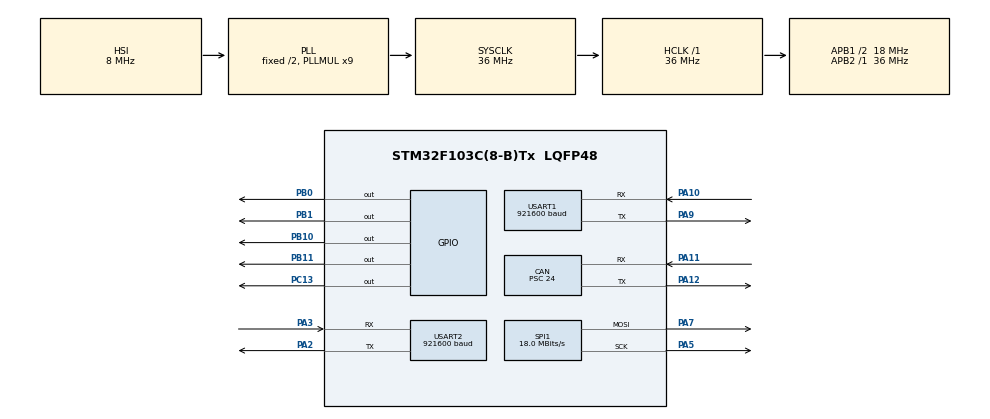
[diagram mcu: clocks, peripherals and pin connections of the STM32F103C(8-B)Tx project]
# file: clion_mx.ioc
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CAN.ABOM=ENABLE
CAN.AWUM=ENABLE
CAN.BS1=CAN_BS1_8TQ
CAN.BS2=CAN_BS2_6TQ
CAN.CalculateBaudRate=49999
CAN.CalculateTimeBit=20000
CAN.CalculateTimeQuantum=1333.3333333333335
CAN.Mode=CAN_MODE_LOOPBACK
CAN.NART=ENABLE
CAN.Prescaler=24
CAN.SJW=CAN_SJW_1TQ
CAN.TXFP=DISABLE
Dma.Request0=USART1_RX
Dma.USART1_RX.0.Direction=DMA_PERIPH_TO_MEMORY
Dma.USART1_RX.0.Instance=DMA1_Channel5
Dma.USART1_RX.0.MemDataAlignment=DMA_MDATAALIGN_BYTE
Dma.USART1_RX.0.MemInc=DMA_MINC_ENABLE
Dma.USART1_RX.0.Mode=DMA_NORMAL
Dma.USART1_RX.0.PeriphDataAlignment=DMA_PDATAALIGN_BYTE
Dma.USART1_RX.0.PeriphInc=DMA_PINC_DISABLE
Dma.USART1_RX.0.Priority=DMA_PRIORITY_VERY_HIGH
Mcu.Family=STM32F1
Mcu.Name=STM32F103C(8-B)Tx
Mcu.Package=LQFP48
NVIC.CAN1_RX1_IRQn=true\:0\:0\:false\:false\:true\:true\:true\:true
NVIC.DMA1_Channel5_IRQn=true\:0\:0\:false\:false\:true\:false\:true\:true
NVIC.PriorityGroup=NVIC_PRIORITYGROUP_4
NVIC.USART1_IRQn=true\:0\:0\:false\:false\:true\:true\:true\:true
NVIC.USB_LP_CAN1_RX0_IRQn=true\:0\:0\:false\:false\:true\:true\:true\:true
PA10.Mode=Asynchronous
PA10.Signal=USART1_RX
PA11.Mode=CAN_Activate
PA11.Signal=CAN_RX
PA12.Mode=CAN_Activate
PA12.Signal=CAN_TX
PA13.Mode=Serial_Wire
PA13.Signal=SYS_JTMS-SWDIO
PA14.Mode=Serial_Wire
PA14.Signal=SYS_JTCK-SWCLK
PA2.Mode=Asynchronous
PA2.Signal=USART2_TX
PA3.Mode=Asynchronous
PA3.Signal=USART2_RX
PA5.Mode=TX_Only_Simplex_Unidirect_Master
PA5.Signal=SPI1_SCK
PA7.Mode=TX_Only_Simplex_Unidirect_Master
PA7.Signal=SPI1_MOSI
PA9.Mode=Asynchronous
PA9.Signal=USART1_TX
PB0.Signal=GPIO_Output
PB1.Signal=GPIO_Output
PB10.Signal=GPIO_Output
PB11.Signal=GPIO_Output
PC13-TAMPER-RTC.Signal=GPIO_Output
PD0-OSC_IN.Mode=HSE-External-Oscillator
PD0-OSC_IN.Signal=RCC_OSC_IN
PD1-OSC_OUT.Mode=HSE-External-Oscillator
PD1-OSC_OUT.Signal=RCC_OSC_OUT
ProjectManager.HeapSize=0x200
ProjectManager.StackSize=0x400
ProjectManager.TargetToolchain=CMake
RCC.AHBFreq_Value=36000000
RCC.APB1CLKDivider=RCC_HCLK_DIV2
RCC.APB1Freq_Value=18000000
RCC.APB1TimFreq_Value=36000000
RCC.APB2Freq_Value=36000000
RCC.APB2TimFreq_Value=36000000
RCC.HCLKFreq_Value=36000000
RCC.PLLMUL=RCC_PLL_MUL9
RCC.SYSCLKFreq_VALUE=36000000
RCC.SYSCLKSource=RCC_SYSCLKSOURCE_PLLCLK
RCC.USBFreq_Value=36000000
SPI1.BaudRatePrescaler=SPI_BAUDRATEPRESCALER_2
SPI1.CalculateBaudRate=18.0 MBits/s
SPI1.Direction=SPI_DIRECTION_2LINES
SPI1.Mode=SPI_MODE_MASTER
SPI1.VirtualType=VM_MASTER
USART1.BaudRate=921600
USART1.VirtualMode=VM_ASYNC
USART2.BaudRate=921600
USART2.VirtualMode=VM_ASYNC
board=custom

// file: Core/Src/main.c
/* USER CODE BEGIN Header */
/**
  ******************************************************************************
  * @file           : main.c
  * @brief          : Main program body
  ******************************************************************************
  * @attention
  *
  * Copyright (c) 2026 STMicroelectronics.
  * All rights reserved.
  *
  * This software is licensed under terms that can be found in the LICENSE file
  * in the root directory of this software component.
  * If no LICENSE file comes with this software, it is provided AS-IS.
  *
  ******************************************************************************
  */
/* USER CODE END Header */
#include "main.h"
#include "can.h"
#include "dma.h"
#include "spi.h"
#include "usart.h"
#include "gpio.h"

/* USER CODE BEGIN Includes */

#include "main.h"
#include "ST7735.h"

#include "test.h"

extern uint8_t U1_RxBuff[];

/* USER CODE END Includes */

void SystemClock_Config(void);

int main(void)
{

  /* MCU Configuration--------------------------------------------------------*/

  /* Reset of all peripherals, Initializes the Flash interface and the Systick. */
  HAL_Init();

  /* USER CODE BEGIN Init */

U1_PtrInit();

  /* USER CODE END Init */

  /* Configure the system clock */
  SystemClock_Config();

  /* Initialize all configured peripherals */
  MX_GPIO_Init();
  MX_DMA_Init();
  MX_SPI1_Init();
  MX_USART1_UART_Init();
  MX_CAN_Init();
  MX_USART2_UART_Init();
  /* USER CODE BEGIN 2 */

	HAL_CAN_Start(&hcan);
	CAN_Filter_AllPass_Init();
	HAL_CAN_ActivateNotification(&hcan, CAN_IT_RX_FIFO0_MSG_PENDING);

	LCD_Init();
	LCD_Fill(0,0,128,160 ,YELLOW);

	HAL_UART_Receive_DMA(&huart1,U1_RxBuff,256);
	__HAL_UART_ENABLE_IT(&huart1, UART_IT_IDLE);

//Test_Display();

u1_printf("helloworld\n");

uint32_t ttt =0 ;
const uint8_t txtx[]="nihaoya!";

  /* USER CODE END 2 */

  /* Infinite loop */
  while (1)
  {

    /* USER CODE BEGIN 3 */

u1_printf("time: %d\n",ttt++);

	  u1_printf("$$$\n");
	//HAL_UART_Transmit(&huart1,U1_RxBuff,256,1000);
	  u1_printf("$$$\n");

  	CAN_TxData(txtx,8);
  //	CAN_RxData(U1_RxBuff);

HAL_Delay(2000);

  }
  /* USER CODE END 3 */
}

void SystemClock_Config(void)
{
  RCC_OscInitTypeDef RCC_OscInitStruct = {0};
  RCC_ClkInitTypeDef RCC_ClkInitStruct = {0};

  /** Initializes the RCC Oscillators according to the specified parameters
  * in the RCC_OscInitTypeDef structure.
  */
  RCC_OscInitStruct.OscillatorType = RCC_OSCILLATORTYPE_HSI;
  RCC_OscInitStruct.HSIState = RCC_HSI_ON;
  RCC_OscInitStruct.HSICalibrationValue = RCC_HSICALIBRATION_DEFAULT;
  RCC_OscInitStruct.PLL.PLLState = RCC_PLL_ON;
  RCC_OscInitStruct.PLL.PLLSource = RCC_PLLSOURCE_HSI_DIV2;
  RCC_OscInitStruct.PLL.PLLMUL = RCC_PLL_MUL9;
  if (HAL_RCC_OscConfig(&RCC_OscInitStruct) != HAL_OK)
  {
    Error_Handler();
  }

  /** Initializes the CPU, AHB and APB buses clocks
  */
  RCC_ClkInitStruct.ClockType = RCC_CLOCKTYPE_HCLK|RCC_CLOCKTYPE_SYSCLK
                              |RCC_CLOCKTYPE_PCLK1|RCC_CLOCKTYPE_PCLK2;
  RCC_ClkInitStruct.SYSCLKSource = RCC_SYSCLKSOURCE_PLLCLK;
  RCC_ClkInitStruct.AHBCLKDivider = RCC_SYSCLK_DIV1;
  RCC_ClkInitStruct.APB1CLKDivider = RCC_HCLK_DIV2;
  RCC_ClkInitStruct.APB2CLKDivider = RCC_HCLK_DIV1;

  if (HAL_RCC_ClockConfig(&RCC_ClkInitStruct, FLASH_LATENCY_1) != HAL_OK)
  {
    Error_Handler();
  }
}

void Error_Handler(void)
{
  __disable_irq();
  while (1)
  {
  }
}
